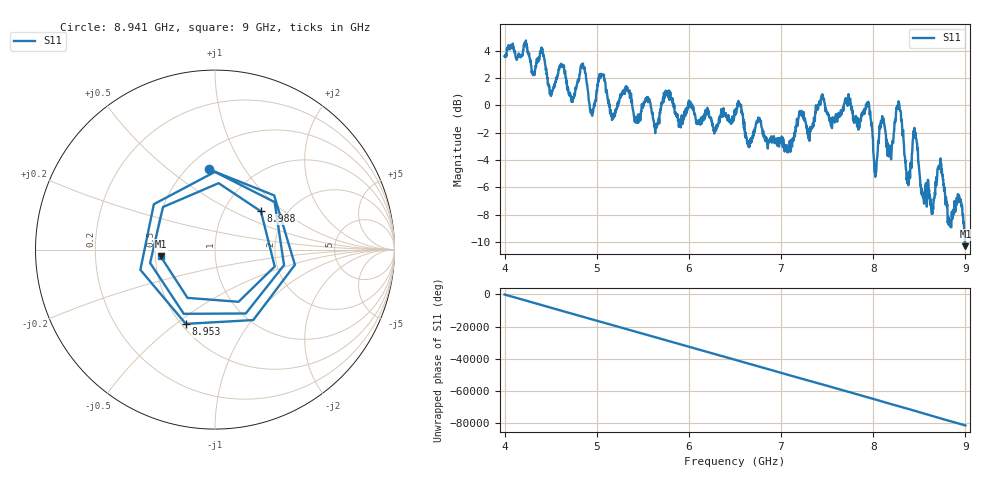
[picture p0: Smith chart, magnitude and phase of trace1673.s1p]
! Created with skrf 1.8.0 (http://scikit-rf.org).
# Hz S RI R 50.0
!freq ReS11 ImS11
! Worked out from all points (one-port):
!   1601 points, 4 GHz to 9 GHz, reference 50 ohm
!   lowest |S11| = -10.3 dB at 9 GHz (marker M1), VSWR 1.88, Z = 26.7 - j2.25 ohm
!   |S11| at or under -10 dB: 8.994869 GHz to end of sweep
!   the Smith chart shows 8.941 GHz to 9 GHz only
!   S11 on the Smith chart (normalised r, x): 8.941 GHz: 0.63, +0.71; 8.953 GHz: 0.53, -0.54; 8.988 GHz: 1.48, +0.71; 9 GHz: 0.53, -0.05
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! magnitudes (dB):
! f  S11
! 4 GHz  3.6
! 4.409 GHz  4.1
! 4.506 GHz  0.7
! 4.625 GHz  2.8
! 4.728 GHz  0.3
! 4.853 GHz  2.8
! 4.944 GHz  -0.4
! 5.053 GHz  2.2
! 5.166 GHz  -1.1
! 5.25 GHz  0.6
! 5.875 GHz  -0.7
! 6.5 GHz  -0.5
! 7.125 GHz  -2.6
! 7.75 GHz  0.5
! 7.944 GHz  0.2
! 8.025 GHz  -5.1
! 8.091 GHz  -1.1
! 8.275 GHz  0.3
! 8.375 GHz  -5.1
! 8.453 GHz  -2.2
! 8.538 GHz  -6.6
! 8.644 GHz  -7.9
! 8.722 GHz  -4.6
! 8.831 GHz  -8.7
! 8.941 GHz  -7.0
! 8.953 GHz  -7.0
! 8.988 GHz  -9.6
! 9 GHz  -10.3
